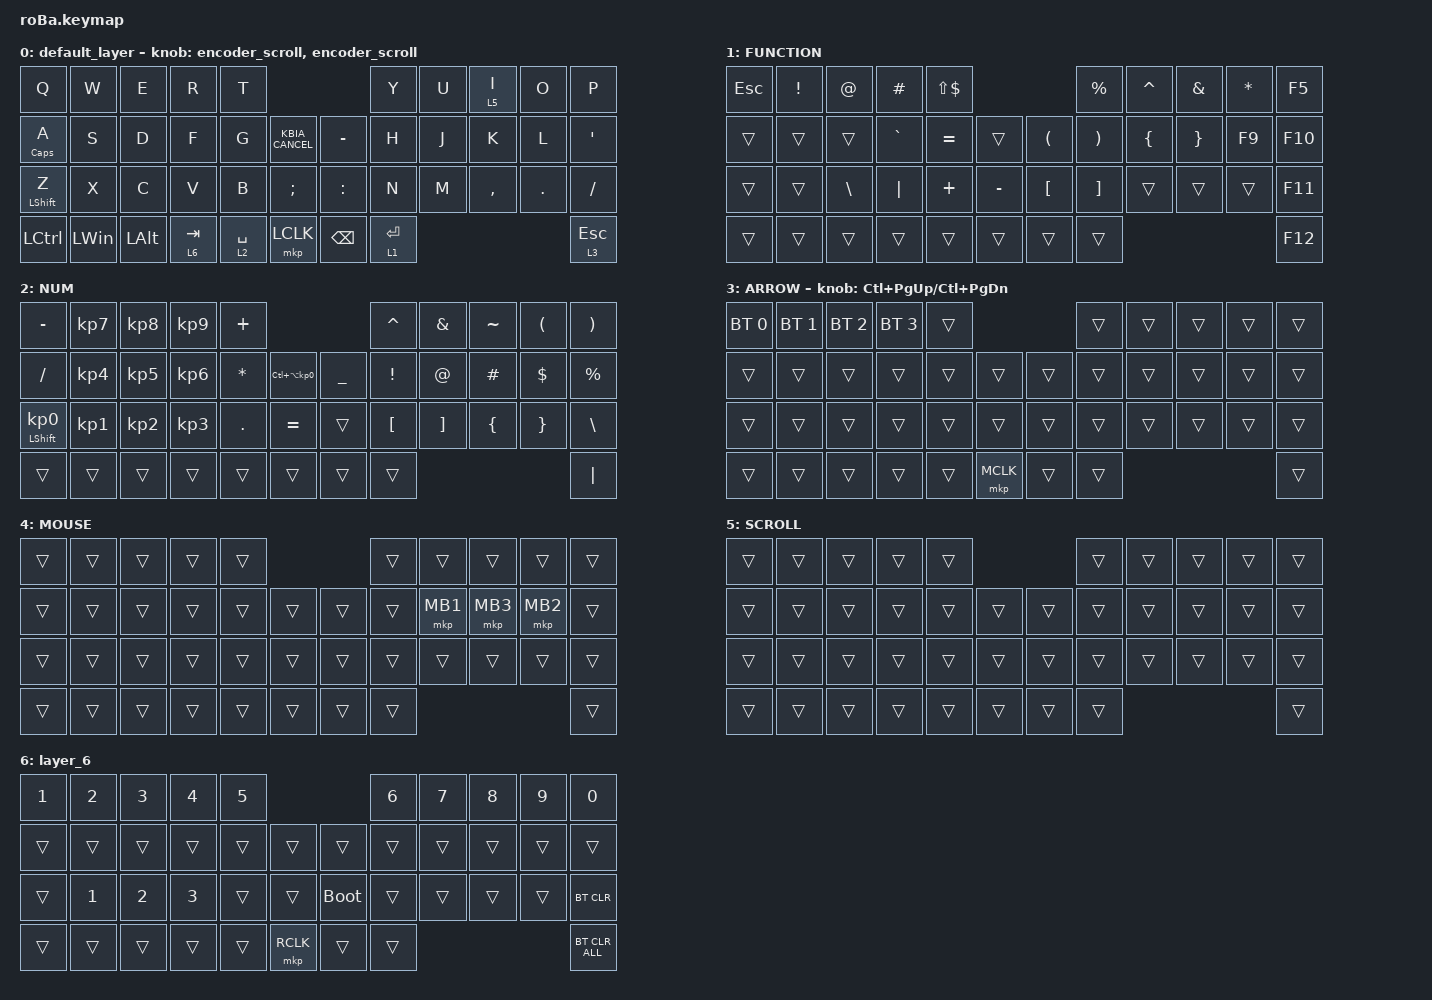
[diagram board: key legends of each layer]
#include <behaviors.dtsi>
#include <dt-bindings/zmk/bt.h>
#include <dt-bindings/zmk/keys.h>

// エンコーダのスクロール量（小さくすると遅く、大きくすると速くなる）
#define ZMK_POINTING_DEFAULT_SCRL_VAL 80

#include <dt-bindings/zmk/pointing.h>

&mt {
    flavor = "balanced";
    quick-tap-ms = <0>;
};

&trackball {
    automouse-layer = <4>;
    scroll-layers = <5>;

    // arrows {
    //     layers = <3>;
    //     bindings =
    //         <&kp RIGHT_ARROW>,
    //         <&kp LEFT_ARROW>,
    //         <&kp UP_ARROW>,
    //         <&kp DOWN_ARROW>;
    //     tick = <10>;
    //     wait-ms = <5>;
    //     tap-ms = <5>;
    // };
};

/ {
    combos {
        compatible = "zmk,combos";

        tab {
            bindings = <&kp TAB>;
            key-positions = <11 12>;
        };

        shift_tab {
            bindings = <&kp LS(TAB)>;
            key-positions = <12 13>;
        };

        muhennkann {
            bindings = <&to_layer_0 INT_MUHENKAN>;
            key-positions = <11 10>;
        };

        double_quotation {
            bindings = <&kp DOUBLE_QUOTES>;
            key-positions = <20 21>;
        };

        eq {
            bindings = <&kp EQUAL>;
            key-positions = <24 25>;
        };
    };

    macros {
        to_layer_0: to_layer_0 {
            compatible = "zmk,behavior-macro-one-param";
            #binding-cells = <1>;
            bindings = <&to 0 &macro_param_1to1 &kp MACRO_PLACEHOLDER>;
            label = "TO_LAYER_0";
        };
    };

    behaviors {
        lt_to_layer_0: lt_to_layer_0 {
            compatible = "zmk,behavior-hold-tap";
            label = "LAYER_TAP_TO_0";
            bindings = <&mo>, <&to_layer_0>;

            #binding-cells = <2>;
            tapping-term-ms = <200>;
        };

        // エンコーダ用マウススクロール（時計回り → 上スクロール、反時計回り → 下スクロール）
        encoder_scroll: encoder_scroll {
            compatible = "zmk,behavior-sensor-rotate";
            label = "ENCODER_SCROLL";
            #sensor-binding-cells = <0>;
            bindings = <&msc SCRL_UP>, <&msc SCRL_DOWN>;
            tap-ms = <20>;
        };
    };

    keymap {
        compatible = "zmk,keymap";

        default_layer {
            bindings = <
&kp Q             &kp W         &kp E         &kp R                 &kp T                                              &kp Y        &kp U  &lt 5 I    &kp O    &kp P
&mt CAPS A        &kp S         &kp D         &kp F                 &kp G        &kp C_KBIA_CANCEL      &kp MINUS      &kp H        &kp J  &kp K      &kp L    &kp SQT
&mt LEFT_SHIFT Z  &kp X         &kp C         &kp V                 &kp B        &kp SEMICOLON          &kp COLON      &kp N        &kp M  &kp COMMA  &kp DOT  &kp SLASH
&kp LCTRL         &kp LEFT_WIN  &kp LEFT_ALT  &lt_to_layer_0 6 TAB  &lt 2 SPACE  &mkp LCLK              &kp BACKSPACE  &lt 1 ENTER                             &lt 3 ESC
            >;

            sensor-bindings =
                <&encoder_scroll>,
                <&encoder_scroll>;
        };

        FUNCTION {
            bindings = <
&kp ESC  &kp EXCLAMATION  &kp AT_SIGN    &kp HASH   &kp LS(DOLLAR)                                       &kp PERCENT            &kp CARET       &kp AMPERSAND    &kp ASTERISK  &kp F5
&trans   &trans           &trans         &kp GRAVE  &kp EQUAL       &trans         &kp LEFT_PARENTHESIS  &kp RIGHT_PARENTHESIS  &kp LEFT_BRACE  &kp RIGHT_BRACE  &kp F9        &kp F10
&trans   &trans           &kp BACKSLASH  &kp PIPE   &kp PLUS        &kp MINUS      &kp LEFT_BRACKET      &kp RIGHT_BRACKET      &trans          &trans           &trans        &kp F11
&trans   &trans           &trans         &trans     &trans          &trans         &trans                &trans                                                                &kp F12
            >;
        };

        NUM {
            bindings = <
&kp MINUS                   &kp KP_NUMBER_7  &kp KP_NUMBER_8  &kp KP_NUMBER_9  &kp PLUS                                                   &kp CARET         &kp AMPERSAND      &kp TILDE       &kp LEFT_PARENTHESIS  &kp RIGHT_PARENTHESIS
&kp SLASH                   &kp KP_NUMBER_4  &kp KP_NUMBER_5  &kp KP_NUMBER_6  &kp ASTERISK  &kp LC(LA(KP_NUMBER_0))      &kp UNDERSCORE  &kp EXCLAMATION   &kp AT_SIGN        &kp HASH        &kp DOLLAR            &kp PERCENT
&mt LEFT_SHIFT KP_NUMBER_0  &kp KP_NUMBER_1  &kp KP_NUMBER_2  &kp KP_NUMBER_3  &kp PERIOD    &kp EQUAL                    &trans          &kp LEFT_BRACKET  &kp RIGHT_BRACKET  &kp LEFT_BRACE  &kp RIGHT_BRACE       &kp BACKSLASH
&trans                      &trans           &trans           &trans           &trans        &trans                       &trans          &trans                                                                     &kp PIPE
            >;
        };

        ARROW {
            bindings = <
&bt BT_SEL 0  &bt BT_SEL 1  &bt BT_SEL 2  &bt BT_SEL 3  &trans                         &trans  &trans  &trans  &trans  &trans
&trans        &trans        &trans        &trans        &trans  &trans         &trans  &trans  &trans  &trans  &trans  &trans
&trans        &trans        &trans        &trans        &trans  &trans         &trans  &trans  &trans  &trans  &trans  &trans
&trans        &trans        &trans        &trans        &trans  &mkp MCLK      &trans  &trans                          &trans
            >;

            sensor-bindings = <&inc_dec_kp LC(PAGE_UP) LC(PAGE_DOWN)>;
        };

        MOUSE {
            bindings = <
&trans  &trans  &trans  &trans  &trans                      &trans  &trans    &trans    &trans    &trans
&trans  &trans  &trans  &trans  &trans  &trans      &trans  &trans  &mkp MB1  &mkp MB3  &mkp MB2  &trans
&trans  &trans  &trans  &trans  &trans  &trans      &trans  &trans  &trans    &trans    &trans    &trans
&trans  &trans  &trans  &trans  &trans  &trans      &trans  &trans                                &trans
            >;
        };

        SCROLL {
            bindings = <
&trans  &trans  &trans  &trans  &trans                      &trans  &trans  &trans  &trans  &trans
&trans  &trans  &trans  &trans  &trans  &trans      &trans  &trans  &trans  &trans  &trans  &trans
&trans  &trans  &trans  &trans  &trans  &trans      &trans  &trans  &trans  &trans  &trans  &trans
&trans  &trans  &trans  &trans  &trans  &trans      &trans  &trans                          &trans
            >;
        };

        layer_6 {
            bindings = <
&kp NUMBER_1  &kp NUMBER_2  &kp NUMBER_3  &kp NUMBER_4  &kp N5                              &kp NUMBER_6  &kp N7  &kp N8  &kp N9  &kp N0
&trans        &trans        &trans        &trans        &trans  &trans         &trans       &trans        &trans  &trans  &trans  &trans
&trans        &kp NUMBER_1  &kp NUMBER_2  &kp NUMBER_3  &trans  &trans         &bootloader  &trans        &trans  &trans  &trans  &bt BT_CLR
&trans        &trans        &trans        &trans        &trans  &mkp RCLK      &trans       &trans                                &bt BT_CLR_ALL
            >;
        };
    };
};
